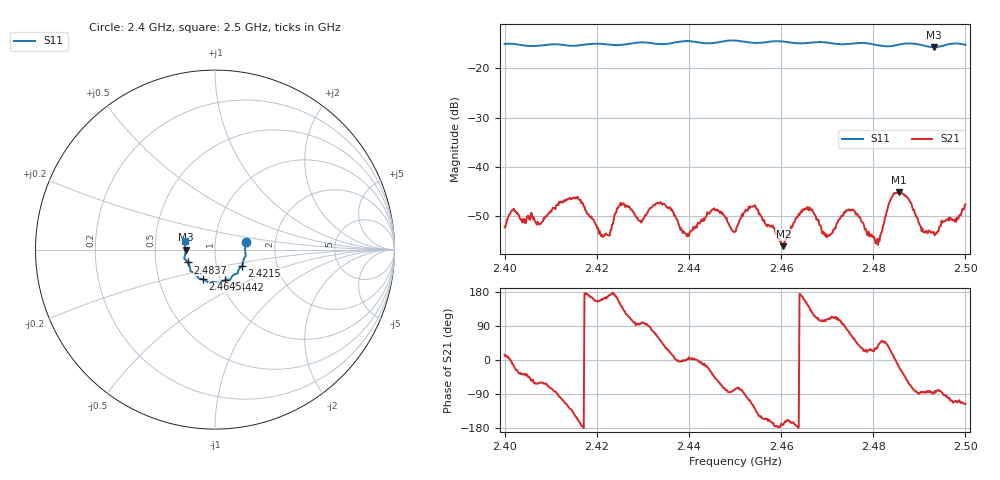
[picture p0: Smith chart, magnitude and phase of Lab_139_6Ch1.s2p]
# Hz S RI R 50
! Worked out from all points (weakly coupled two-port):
!   601 points, 2.4 GHz to 2.5 GHz, reference 50 ohm
!   highest |S21| = -45.17 dB at 2.4855 GHz (marker M1); lowest = -56.1 dB at 2.4605 GHz (marker M2)
!   lowest |S11| = -15.7 dB at 2.4932 GHz (marker M3), VSWR 1.39, Z = 36 - j0.0592 ohm
!   |S11| at or under -10 dB: start of sweep to end of sweep
!   S12 and S22 are empty: the file has one direction only
!   S11 on the Smith chart (normalised r, x): 2.4 GHz: 1.41, +0.12; 2.4215 GHz: 1.33, -0.25; 2.4442 GHz: 1.05, -0.37; 2.4645 GHz: 0.83, -0.29; 2.4837 GHz: 0.73, -0.11; 2.5 GHz: 0.71, +0.07
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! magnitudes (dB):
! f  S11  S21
! 2.4 GHz  -15.1  -52.3
! 2.4018 GHz  -15.1  -48.8
! 2.4167 GHz  -15.3  -47.4
! 2.4215 GHz  -15.1  -54.0
! 2.4253 GHz  -15.3  -47.8
! 2.4295 GHz  -14.8  -50.9
! 2.4333 GHz  -15.1  -47.3
! 2.4395 GHz  -14.5  -54.0
! 2.4442 GHz  -15.0  -49.4
! 2.45 GHz  -14.4  -53.1
! 2.454 GHz  -14.9  -48.1
! 2.4605 GHz  -14.6  -56.1
! 2.4645 GHz  -15.0  -49.2
! 2.4667 GHz  -14.8  -48.6
! 2.47 GHz  -14.8  -54.2
! 2.4755 GHz  -15.0  -48.6
! 2.4808 GHz  -15.3  -54.7
! 2.4833 GHz  -15.6  -47.6
! 2.4837 GHz  -15.5  -46.9
! 2.4855 GHz  -15.2  -45.2
! 2.4932 GHz  -15.7  -53.2
! 2.5 GHz  -15.3  -47.6
